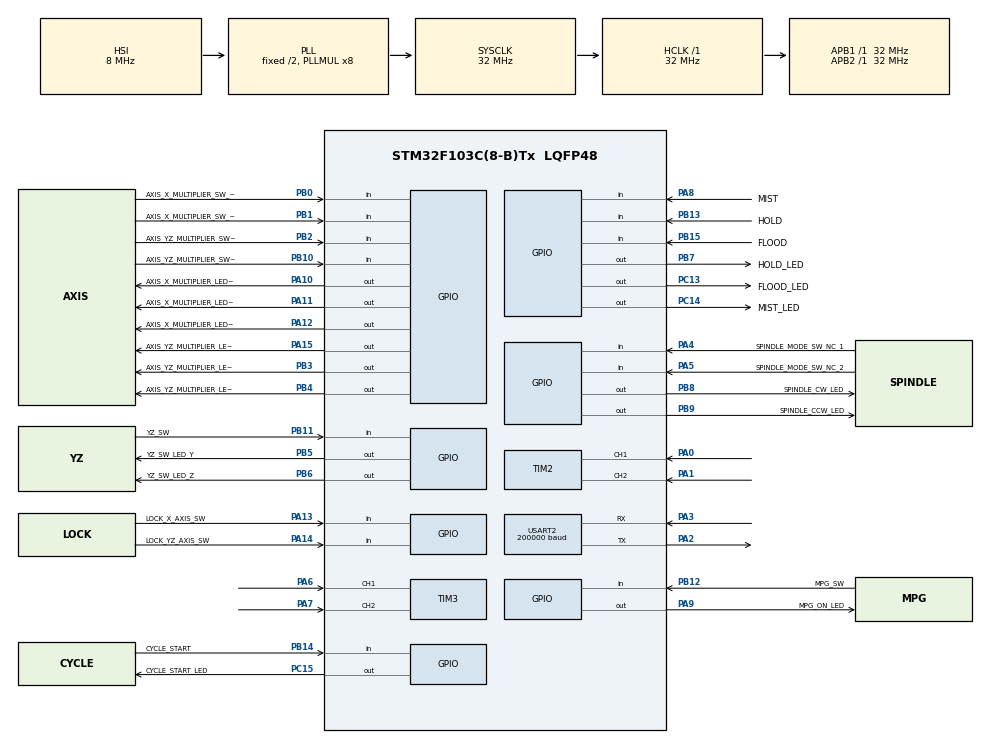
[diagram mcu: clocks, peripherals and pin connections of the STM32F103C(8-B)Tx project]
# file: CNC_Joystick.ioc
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Dma.Request0=USART2_RX
Dma.Request1=USART2_TX
Dma.USART2_RX.0.Direction=DMA_PERIPH_TO_MEMORY
Dma.USART2_RX.0.Instance=DMA1_Channel6
Dma.USART2_RX.0.MemDataAlignment=DMA_MDATAALIGN_BYTE
Dma.USART2_RX.0.MemInc=DMA_MINC_ENABLE
Dma.USART2_RX.0.Mode=DMA_NORMAL
Dma.USART2_RX.0.PeriphDataAlignment=DMA_PDATAALIGN_BYTE
Dma.USART2_RX.0.PeriphInc=DMA_PINC_DISABLE
Dma.USART2_RX.0.Priority=DMA_PRIORITY_LOW
Dma.USART2_TX.1.Direction=DMA_MEMORY_TO_PERIPH
Dma.USART2_TX.1.Instance=DMA1_Channel7
Dma.USART2_TX.1.MemDataAlignment=DMA_MDATAALIGN_BYTE
Dma.USART2_TX.1.MemInc=DMA_MINC_ENABLE
Dma.USART2_TX.1.Mode=DMA_NORMAL
Dma.USART2_TX.1.PeriphDataAlignment=DMA_PDATAALIGN_BYTE
Dma.USART2_TX.1.PeriphInc=DMA_PINC_DISABLE
Dma.USART2_TX.1.Priority=DMA_PRIORITY_LOW
Mcu.Family=STM32F1
Mcu.Name=STM32F103C(8-B)Tx
Mcu.Package=LQFP48
NVIC.DMA1_Channel6_IRQn=true\:1\:0\:true\:false\:true\:false\:true\:true
NVIC.DMA1_Channel7_IRQn=true\:1\:0\:true\:false\:true\:false\:true\:true
NVIC.PriorityGroup=NVIC_PRIORITYGROUP_4
NVIC.TIM4_IRQn=true\:2\:0\:true\:false\:true\:true\:true\:true
NVIC.USART2_IRQn=true\:0\:0\:false\:false\:true\:true\:true\:true
PA0-WKUP.Signal=S_TIM2_CH1_ETR
PA1.Signal=S_TIM2_CH2
PA10.GPIO_Label=AXIS_X_MULTIPLIER_LED_1
PA10.Signal=GPIO_Output
PA11.GPIO_Label=AXIS_X_MULTIPLIER_LED_2
PA11.Signal=GPIO_Output
PA12.GPIO_Label=AXIS_X_MULTIPLIER_LED_3
PA12.Signal=GPIO_Output
PA13.GPIO_Label=LOCK_X_AXIS_SW
PA13.GPIO_PuPd=GPIO_PULLUP
PA13.Signal=GPIO_Input
PA14.GPIO_Label=LOCK_YZ_AXIS_SW
PA14.GPIO_PuPd=GPIO_PULLUP
PA14.Signal=GPIO_Input
PA15.GPIO_Label=AXIS_YZ_MULTIPLIER_LED_1
PA15.Signal=GPIO_Output
PA2.Mode=Asynchronous
PA2.Signal=USART2_TX
PA3.Mode=Asynchronous
PA3.Signal=USART2_RX
PA4.GPIO_Label=SPINDLE_MODE_SW_NC_1
PA4.GPIO_PuPd=GPIO_PULLUP
PA4.Signal=GPIO_Input
PA5.GPIO_Label=SPINDLE_MODE_SW_NC_2
PA5.GPIO_PuPd=GPIO_PULLUP
PA5.Signal=GPIO_Input
PA6.Signal=S_TIM3_CH1
PA7.Signal=S_TIM3_CH2
PA8.GPIO_Label=MIST
PA8.GPIO_PuPd=GPIO_PULLUP
PA8.Signal=GPIO_Input
PA9.GPIO_Label=MPG_ON_LED
PA9.Signal=GPIO_Output
PB0.GPIO_Label=AXIS_X_MULTIPLIER_SW_NC_1
PB0.GPIO_PuPd=GPIO_PULLUP
PB0.Signal=GPIO_Input
PB1.GPIO_Label=AXIS_X_MULTIPLIER_SW_NC_2
PB1.GPIO_PuPd=GPIO_PULLUP
PB1.Signal=GPIO_Input
PB10.GPIO_Label=AXIS_YZ_MULTIPLIER_SW_NC_2
PB10.GPIO_PuPd=GPIO_PULLUP
PB10.Signal=GPIO_Input
PB11.GPIO_Label=YZ_SW
PB11.GPIO_PuPd=GPIO_PULLUP
PB11.Signal=GPIO_Input
PB12.GPIO_Label=MPG_SW
PB12.GPIO_PuPd=GPIO_PULLUP
PB12.Signal=GPIO_Input
PB13.GPIO_Label=HOLD
PB13.GPIO_PuPd=GPIO_PULLUP
PB13.Signal=GPIO_Input
PB14.GPIO_Label=CYCLE_START
PB14.GPIO_PuPd=GPIO_PULLUP
PB14.Signal=GPIO_Input
PB15.GPIO_Label=FLOOD
PB15.GPIO_PuPd=GPIO_PULLUP
PB15.Signal=GPIO_Input
PB2.GPIO_Label=AXIS_YZ_MULTIPLIER_SW_NC_1
PB2.GPIO_PuPd=GPIO_PULLUP
PB2.Signal=GPIO_Input
PB3.GPIO_Label=AXIS_YZ_MULTIPLIER_LED_2
PB3.Signal=GPIO_Output
PB4.GPIO_Label=AXIS_YZ_MULTIPLIER_LED_3
PB4.Signal=GPIO_Output
PB5.GPIO_Label=YZ_SW_LED_Y
PB5.Signal=GPIO_Output
PB6.GPIO_Label=YZ_SW_LED_Z
PB6.Signal=GPIO_Output
PB7.GPIO_Label=HOLD_LED
PB7.Signal=GPIO_Output
PB8.GPIO_Label=SPINDLE_CW_LED
PB8.Signal=GPIO_Output
PB9.GPIO_Label=SPINDLE_CCW_LED
PB9.Signal=GPIO_Output
PC13-TAMPER-RTC.GPIO_Label=FLOOD_LED
PC13-TAMPER-RTC.Signal=GPIO_Output
PC14-OSC32_IN.GPIO_Label=MIST_LED
PC14-OSC32_IN.Signal=GPIO_Output
PC15-OSC32_OUT.GPIO_Label=CYCLE_START_LED
PC15-OSC32_OUT.Signal=GPIO_Output
ProjectManager.HeapSize=0x200
ProjectManager.StackSize=0x400
ProjectManager.TargetToolchain=STM32CubeIDE
RCC.AHBFreq_Value=32000000
RCC.APB1Freq_Value=32000000
RCC.APB1TimFreq_Value=32000000
RCC.APB2Freq_Value=32000000
RCC.APB2TimFreq_Value=32000000
RCC.HCLKFreq_Value=32000000
RCC.PLLMUL=RCC_PLL_MUL8
RCC.SYSCLKFreq_VALUE=32000000
RCC.SYSCLKSource=RCC_SYSCLKSOURCE_PLLCLK
RCC.USBFreq_Value=32000000
SH.S_TIM2_CH1_ETR.0=TIM2_CH1,Encoder_Interface
SH.S_TIM2_CH2.0=TIM2_CH2,Encoder_Interface
SH.S_TIM3_CH1.0=TIM3_CH1,Encoder_Interface
SH.S_TIM3_CH2.0=TIM3_CH2,Encoder_Interface
TIM4.Period=1000 - 1
TIM4.Prescaler=320
USART2.BaudRate=200000
USART2.VirtualMode=VM_ASYNC
VP_TIM4_VS_ClockSourceINT.Mode=Internal
board=custom

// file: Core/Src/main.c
/* USER CODE BEGIN Header */
/**
  ******************************************************************************
  * @file           : main.c
  * @brief          : Main program body
  ******************************************************************************
  * @attention
  *
  * Copyright (c) 2024 STMicroelectronics.
  * All rights reserved.
  *
  * This software is licensed under terms that can be found in the LICENSE file
  * in the root directory of this software component.
  * If no LICENSE file comes with this software, it is provided AS-IS.
  *
  ******************************************************************************
  */
/* USER CODE END Header */
#include "main.h"

/* USER CODE BEGIN Includes */
#include "buttons.h"
#include "uart_comm.h"
#include "stm32f1xx_it.h"

/* USER CODE END Includes */

/* USER CODE BEGIN PD */
#define Y_OR_Z_BUT_DELAY_CH 0
#define MPG_BUT_DELAY_CH 1
#define FLOOD_BUT_DELAY_CH 2
#define MIST_BUT_DELAY_CH 3

/* USER CODE END PD */

TIM_HandleTypeDef htim2;
TIM_HandleTypeDef htim3;
TIM_HandleTypeDef htim4;

UART_HandleTypeDef huart2;
DMA_HandleTypeDef hdma_usart2_rx;
DMA_HandleTypeDef hdma_usart2_tx;

/* USER CODE BEGIN PV */
bool process_inputs_flag = false;
bool pendant_status = false;
uint8_t pendant_mpg_status = MPG_STATUS_DISABLED;

uint8_t button_action_delay_cnt_ch[16] = {0};
const uint8_t button_delay_action_cnt = BUTTON_DELAY_ACTION_TIME / PROCESS_INPUTS_DELAY;

/* USER CODE END PV */

void SystemClock_Config(void);
static void MX_GPIO_Init(void);
static void MX_DMA_Init(void);
static void MX_TIM2_Init(void);
static void MX_TIM3_Init(void);
static void MX_USART2_UART_Init(void);
static void MX_TIM4_Init(void);
/* USER CODE BEGIN PFP */
void Init_interfaces(void);
void turn_off_leds(void);
void process_inputs(void);
uint8_t get_spindle_mode(void);
uint8_t get_x_axis_multiplier(void);
uint8_t get_yz_axis_multiplier(void);

/* USER CODE END PFP */

/* USER CODE BEGIN 0 */
#define ENCODER_1_TIM htim2
#define ENCODER_2_TIM htim3

extern pendant_data_t pendant_data;

/* USER CODE END 0 */

int main(void)
{

  /* MCU Configuration--------------------------------------------------------*/

  /* Reset of all peripherals, Initializes the Flash interface and the Systick. */
  HAL_Init();

  /* Configure the system clock */
  SystemClock_Config();

  /* Initialize all configured peripherals */
  MX_GPIO_Init();
  MX_DMA_Init();
  MX_TIM2_Init();
  MX_TIM3_Init();
  MX_USART2_UART_Init();
  MX_TIM4_Init();
  /* USER CODE BEGIN 2 */
  // Initialize interfaces
  Init_interfaces();

  /* USER CODE END 2 */

  /* Infinite loop */
  /* USER CODE BEGIN WHILE */
  while(1)
  {
	// The program will enter this if statement when the flag
	// has been set which happens inside TIM4 interrupt handler
	if(process_inputs_flag && pendant_status){
		// Call function for processing system inputs
		process_inputs();

		// Reset the entry flag
		process_inputs_flag = false;
	}
    /* USER CODE END WHILE */

  }
}

void SystemClock_Config(void)
{
  RCC_OscInitTypeDef RCC_OscInitStruct = {0};
  RCC_ClkInitTypeDef RCC_ClkInitStruct = {0};

  /** Initializes the RCC Oscillators according to the specified parameters
  * in the RCC_OscInitTypeDef structure.
  */
  RCC_OscInitStruct.OscillatorType = RCC_OSCILLATORTYPE_HSI;
  RCC_OscInitStruct.HSIState = RCC_HSI_ON;
  RCC_OscInitStruct.HSICalibrationValue = RCC_HSICALIBRATION_DEFAULT;
  RCC_OscInitStruct.PLL.PLLState = RCC_PLL_ON;
  RCC_OscInitStruct.PLL.PLLSource = RCC_PLLSOURCE_HSI_DIV2;
  RCC_OscInitStruct.PLL.PLLMUL = RCC_PLL_MUL8;
  if (HAL_RCC_OscConfig(&RCC_OscInitStruct) != HAL_OK)
  {
    Error_Handler();
  }

  /** Initializes the CPU, AHB and APB buses clocks
  */
  RCC_ClkInitStruct.ClockType = RCC_CLOCKTYPE_HCLK|RCC_CLOCKTYPE_SYSCLK
                              |RCC_CLOCKTYPE_PCLK1|RCC_CLOCKTYPE_PCLK2;
  RCC_ClkInitStruct.SYSCLKSource = RCC_SYSCLKSOURCE_PLLCLK;
  RCC_ClkInitStruct.AHBCLKDivider = RCC_SYSCLK_DIV1;
  RCC_ClkInitStruct.APB1CLKDivider = RCC_HCLK_DIV1;
  RCC_ClkInitStruct.APB2CLKDivider = RCC_HCLK_DIV1;

  if (HAL_RCC_ClockConfig(&RCC_ClkInitStruct, FLASH_LATENCY_1) != HAL_OK)
  {
    Error_Handler();
  }
}

static void MX_TIM2_Init(void)
{

  TIM_Encoder_InitTypeDef sConfig = {0};
  TIM_MasterConfigTypeDef sMasterConfig = {0};

  htim2.Instance = TIM2;
  htim2.Init.Prescaler = 0;
  htim2.Init.CounterMode = TIM_COUNTERMODE_UP;
  htim2.Init.Period = 65535;
  htim2.Init.ClockDivision = TIM_CLOCKDIVISION_DIV1;
  htim2.Init.AutoReloadPreload = TIM_AUTORELOAD_PRELOAD_DISABLE;
  sConfig.EncoderMode = TIM_ENCODERMODE_TI1;
  sConfig.IC1Polarity = TIM_ICPOLARITY_RISING;
  sConfig.IC1Selection = TIM_ICSELECTION_DIRECTTI;
  sConfig.IC1Prescaler = TIM_ICPSC_DIV1;
  sConfig.IC1Filter = 0;
  sConfig.IC2Polarity = TIM_ICPOLARITY_RISING;
  sConfig.IC2Selection = TIM_ICSELECTION_DIRECTTI;
  sConfig.IC2Prescaler = TIM_ICPSC_DIV1;
  sConfig.IC2Filter = 0;
  if (HAL_TIM_Encoder_Init(&htim2, &sConfig) != HAL_OK)
  {
    Error_Handler();
  }
  sMasterConfig.MasterOutputTrigger = TIM_TRGO_RESET;
  sMasterConfig.MasterSlaveMode = TIM_MASTERSLAVEMODE_DISABLE;
  if (HAL_TIMEx_MasterConfigSynchronization(&htim2, &sMasterConfig) != HAL_OK)
  {
    Error_Handler();
  }

}

static void MX_TIM3_Init(void)
{

  TIM_Encoder_InitTypeDef sConfig = {0};
  TIM_MasterConfigTypeDef sMasterConfig = {0};

  htim3.Instance = TIM3;
  htim3.Init.Prescaler = 0;
  htim3.Init.CounterMode = TIM_COUNTERMODE_UP;
  htim3.Init.Period = 65535;
  htim3.Init.ClockDivision = TIM_CLOCKDIVISION_DIV1;
  htim3.Init.AutoReloadPreload = TIM_AUTORELOAD_PRELOAD_DISABLE;
  sConfig.EncoderMode = TIM_ENCODERMODE_TI1;
  sConfig.IC1Polarity = TIM_ICPOLARITY_RISING;
  sConfig.IC1Selection = TIM_ICSELECTION_DIRECTTI;
  sConfig.IC1Prescaler = TIM_ICPSC_DIV1;
  sConfig.IC1Filter = 0;
  sConfig.IC2Polarity = TIM_ICPOLARITY_RISING;
  sConfig.IC2Selection = TIM_ICSELECTION_DIRECTTI;
  sConfig.IC2Prescaler = TIM_ICPSC_DIV1;
  sConfig.IC2Filter = 0;
  if (HAL_TIM_Encoder_Init(&htim3, &sConfig) != HAL_OK)
  {
    Error_Handler();
  }
  sMasterConfig.MasterOutputTrigger = TIM_TRGO_RESET;
  sMasterConfig.MasterSlaveMode = TIM_MASTERSLAVEMODE_DISABLE;
  if (HAL_TIMEx_MasterConfigSynchronization(&htim3, &sMasterConfig) != HAL_OK)
  {
    Error_Handler();
  }

}

static void MX_TIM4_Init(void)
{

  TIM_ClockConfigTypeDef sClockSourceConfig = {0};
  TIM_MasterConfigTypeDef sMasterConfig = {0};

  htim4.Instance = TIM4;
  htim4.Init.Prescaler = 320;
  htim4.Init.CounterMode = TIM_COUNTERMODE_UP;
  htim4.Init.Period = 1000 - 1;
  htim4.Init.ClockDivision = TIM_CLOCKDIVISION_DIV1;
  htim4.Init.AutoReloadPreload = TIM_AUTORELOAD_PRELOAD_DISABLE;
  if (HAL_TIM_Base_Init(&htim4) != HAL_OK)
  {
    Error_Handler();
  }
  sClockSourceConfig.ClockSource = TIM_CLOCKSOURCE_INTERNAL;
  if (HAL_TIM_ConfigClockSource(&htim4, &sClockSourceConfig) != HAL_OK)
  {
    Error_Handler();
  }
  sMasterConfig.MasterOutputTrigger = TIM_TRGO_RESET;
  sMasterConfig.MasterSlaveMode = TIM_MASTERSLAVEMODE_DISABLE;
  if (HAL_TIMEx_MasterConfigSynchronization(&htim4, &sMasterConfig) != HAL_OK)
  {
    Error_Handler();
  }

}

static void MX_USART2_UART_Init(void)
{

  huart2.Instance = USART2;
  huart2.Init.BaudRate = 200000;
  huart2.Init.WordLength = UART_WORDLENGTH_8B;
  huart2.Init.StopBits = UART_STOPBITS_1;
  huart2.Init.Parity = UART_PARITY_NONE;
  huart2.Init.Mode = UART_MODE_TX_RX;
  huart2.Init.HwFlowCtl = UART_HWCONTROL_NONE;
  huart2.Init.OverSampling = UART_OVERSAMPLING_16;
  if (HAL_UART_Init(&huart2) != HAL_OK)
  {
    Error_Handler();
  }

}

static void MX_DMA_Init(void)
{

  /* DMA controller clock enable */
  __HAL_RCC_DMA1_CLK_ENABLE();

  /* DMA interrupt init */
  /* DMA1_Channel6_IRQn interrupt configuration */
  HAL_NVIC_SetPriority(DMA1_Channel6_IRQn, 1, 0);
  HAL_NVIC_EnableIRQ(DMA1_Channel6_IRQn);
  /* DMA1_Channel7_IRQn interrupt configuration */
  HAL_NVIC_SetPriority(DMA1_Channel7_IRQn, 1, 0);
  HAL_NVIC_EnableIRQ(DMA1_Channel7_IRQn);

}

static void MX_GPIO_Init(void)
{
  GPIO_InitTypeDef GPIO_InitStruct = {0};

  /* GPIO Ports Clock Enable */
  __HAL_RCC_GPIOC_CLK_ENABLE();
  __HAL_RCC_GPIOA_CLK_ENABLE();
  __HAL_RCC_GPIOB_CLK_ENABLE();

  /*Configure GPIO pin Output Level */
  HAL_GPIO_WritePin(GPIOC, FLOOD_LED_Pin|MIST_LED_Pin|CYCLE_START_LED_Pin, GPIO_PIN_RESET);

  /*Configure GPIO pin Output Level */
  HAL_GPIO_WritePin(GPIOA, MPG_ON_LED_Pin|AXIS_X_MULTIPLIER_LED_1_Pin|AXIS_X_MULTIPLIER_LED_2_Pin|AXIS_X_MULTIPLIER_LED_3_Pin
                          |AXIS_YZ_MULTIPLIER_LED_1_Pin, GPIO_PIN_RESET);

  /*Configure GPIO pin Output Level */
  HAL_GPIO_WritePin(GPIOB, AXIS_YZ_MULTIPLIER_LED_2_Pin|AXIS_YZ_MULTIPLIER_LED_3_Pin|YZ_SW_LED_Y_Pin|YZ_SW_LED_Z_Pin
                          |HOLD_LED_Pin|SPINDLE_CW_LED_Pin|SPINDLE_CCW_LED_Pin, GPIO_PIN_RESET);

  /*Configure GPIO pins : FLOOD_LED_Pin MIST_LED_Pin CYCLE_START_LED_Pin */
  GPIO_InitStruct.Pin = FLOOD_LED_Pin|MIST_LED_Pin|CYCLE_START_LED_Pin;
  GPIO_InitStruct.Mode = GPIO_MODE_OUTPUT_PP;
  GPIO_InitStruct.Pull = GPIO_NOPULL;
  GPIO_InitStruct.Speed = GPIO_SPEED_FREQ_LOW;
  HAL_GPIO_Init(GPIOC, &GPIO_InitStruct);

  /*Configure GPIO pins : SPINDLE_MODE_SW_NC_1_Pin SPINDLE_MODE_SW_NC_2_Pin MIST_Pin LOCK_X_AXIS_SW_Pin
                           LOCK_YZ_AXIS_SW_Pin */
  GPIO_InitStruct.Pin = SPINDLE_MODE_SW_NC_1_Pin|SPINDLE_MODE_SW_NC_2_Pin|MIST_Pin|LOCK_X_AXIS_SW_Pin
                          |LOCK_YZ_AXIS_SW_Pin;
  GPIO_InitStruct.Mode = GPIO_MODE_INPUT;
  GPIO_InitStruct.Pull = GPIO_PULLUP;
  HAL_GPIO_Init(GPIOA, &GPIO_InitStruct);

  /*Configure GPIO pins : AXIS_X_MULTIPLIER_SW_NC_1_Pin AXIS_X_MULTIPLIER_SW_NC_2_Pin AXIS_YZ_MULTIPLIER_SW_NC_1_Pin AXIS_YZ_MULTIPLIER_SW_NC_2_Pin
                           YZ_SW_Pin MPG_SW_Pin HOLD_Pin CYCLE_START_Pin
                           FLOOD_Pin */
  GPIO_InitStruct.Pin = AXIS_X_MULTIPLIER_SW_NC_1_Pin|AXIS_X_MULTIPLIER_SW_NC_2_Pin|AXIS_YZ_MULTIPLIER_SW_NC_1_Pin|AXIS_YZ_MULTIPLIER_SW_NC_2_Pin
                          |YZ_SW_Pin|MPG_SW_Pin|HOLD_Pin|CYCLE_START_Pin
                          |FLOOD_Pin;
  GPIO_InitStruct.Mode = GPIO_MODE_INPUT;
  GPIO_InitStruct.Pull = GPIO_PULLUP;
  HAL_GPIO_Init(GPIOB, &GPIO_InitStruct);

  /*Configure GPIO pins : MPG_ON_LED_Pin AXIS_X_MULTIPLIER_LED_1_Pin AXIS_X_MULTIPLIER_LED_2_Pin AXIS_X_MULTIPLIER_LED_3_Pin
                           AXIS_YZ_MULTIPLIER_LED_1_Pin */
  GPIO_InitStruct.Pin = MPG_ON_LED_Pin|AXIS_X_MULTIPLIER_LED_1_Pin|AXIS_X_MULTIPLIER_LED_2_Pin|AXIS_X_MULTIPLIER_LED_3_Pin
                          |AXIS_YZ_MULTIPLIER_LED_1_Pin;
  GPIO_InitStruct.Mode = GPIO_MODE_OUTPUT_PP;
  GPIO_InitStruct.Pull = GPIO_NOPULL;
  GPIO_InitStruct.Speed = GPIO_SPEED_FREQ_LOW;
  HAL_GPIO_Init(GPIOA, &GPIO_InitStruct);

  /*Configure GPIO pins : AXIS_YZ_MULTIPLIER_LED_2_Pin AXIS_YZ_MULTIPLIER_LED_3_Pin YZ_SW_LED_Y_Pin YZ_SW_LED_Z_Pin
                           HOLD_LED_Pin SPINDLE_CW_LED_Pin SPINDLE_CCW_LED_Pin */
  GPIO_InitStruct.Pin = AXIS_YZ_MULTIPLIER_LED_2_Pin|AXIS_YZ_MULTIPLIER_LED_3_Pin|YZ_SW_LED_Y_Pin|YZ_SW_LED_Z_Pin
                          |HOLD_LED_Pin|SPINDLE_CW_LED_Pin|SPINDLE_CCW_LED_Pin;
  GPIO_InitStruct.Mode = GPIO_MODE_OUTPUT_PP;
  GPIO_InitStruct.Pull = GPIO_NOPULL;
  GPIO_InitStruct.Speed = GPIO_SPEED_FREQ_LOW;
  HAL_GPIO_Init(GPIOB, &GPIO_InitStruct);

}

/* USER CODE BEGIN 4 */
/**
  * @brief Initialize interfaces
  */
void Init_interfaces(void){
	// Start encoder timers
	HAL_TIM_Encoder_Start(&htim2, TIM_CHANNEL_ALL);
	HAL_TIM_Encoder_Start(&htim3, TIM_CHANNEL_ALL);

	// Start TIM4 for button de-bouncer
	HAL_TIM_Base_Start_IT(&htim4);

	// Assign buttons/switches a de-bouncer channel
	set_button_channel(SPINDLE_MODE_SW_NC_1_GPIO_Port, SPINDLE_MODE_SW_NC_1_Pin, SPINDLE_3POS_SW_NC_1_CH);
	set_button_channel(SPINDLE_MODE_SW_NC_2_GPIO_Port, SPINDLE_MODE_SW_NC_2_Pin, SPINDLE_3POS_SW_NC_2_CH);
	set_button_channel(AXIS_X_MULTIPLIER_SW_NC_1_GPIO_Port, AXIS_X_MULTIPLIER_SW_NC_1_Pin, AXIS_X_MULTIPLIER_SW_NC_1_CH);
	set_button_channel(AXIS_X_MULTIPLIER_SW_NC_2_GPIO_Port, AXIS_X_MULTIPLIER_SW_NC_2_Pin, AXIS_X_MULTIPLIER_SW_NC_2_CH);
	set_button_channel(AXIS_YZ_MULTIPLIER_SW_NC_1_GPIO_Port, AXIS_YZ_MULTIPLIER_SW_NC_1_Pin, AXIS_YZ_MULTIPLIER_SW_NC_1_CH);
	set_button_channel(AXIS_YZ_MULTIPLIER_SW_NC_2_GPIO_Port, AXIS_YZ_MULTIPLIER_SW_NC_2_Pin, AXIS_YZ_MULTIPLIER_SW_NC_2_CH);
	set_button_channel(YZ_SW_GPIO_Port, YZ_SW_Pin, YZ_SW_CH);
	set_button_channel(MPG_SW_GPIO_Port, MPG_SW_Pin, MPG_BUT_CH);
	set_button_channel(HOLD_GPIO_Port, HOLD_Pin, HOLD_BUT_CH);
	set_button_channel(CYCLE_START_GPIO_Port, CYCLE_START_Pin, CYCLE_START_BUT_CH);
	set_button_channel(FLOOD_GPIO_Port, FLOOD_Pin, FLOOD_SW_CH);
	set_button_channel(MIST_GPIO_Port, MIST_Pin, MIST_SW_CH);
	set_button_channel(LOCK_X_AXIS_SW_GPIO_Port, LOCK_X_AXIS_SW_Pin, LOCK_X_AXIS_SW_CH);
	set_button_channel(LOCK_YZ_AXIS_SW_GPIO_Port, LOCK_YZ_AXIS_SW_Pin, LOCK_YZ_AXIS_SW_CH);

	// Turn off all LEDs
	turn_off_leds();

	// Start UART2 reception
	start_uart2_reception();
}

/**
  * @brief Turn off all system LEDs
  */
void turn_off_leds(void){
	HAL_GPIO_WritePin(FLOOD_LED_GPIO_Port, FLOOD_LED_Pin, LED_STATE_OFF);
	HAL_GPIO_WritePin(MIST_LED_GPIO_Port, MIST_LED_Pin, LED_STATE_OFF);
	HAL_GPIO_WritePin(CYCLE_START_LED_GPIO_Port, CYCLE_START_LED_Pin, LED_STATE_OFF);
	HAL_GPIO_WritePin(HOLD_LED_GPIO_Port, HOLD_LED_Pin, LED_STATE_OFF);
	HAL_GPIO_WritePin(MPG_ON_LED_GPIO_Port, MPG_ON_LED_Pin, LED_STATE_OFF);
	HAL_GPIO_WritePin(YZ_SW_LED_Y_GPIO_Port, YZ_SW_LED_Y_Pin, LED_STATE_OFF);
	HAL_GPIO_WritePin(YZ_SW_LED_Z_GPIO_Port, YZ_SW_LED_Z_Pin, LED_STATE_OFF);
	HAL_GPIO_WritePin(SPINDLE_CW_LED_GPIO_Port, SPINDLE_CW_LED_Pin, LED_STATE_OFF);
	HAL_GPIO_WritePin(SPINDLE_CCW_LED_GPIO_Port, SPINDLE_CCW_LED_Pin, LED_STATE_OFF);

	HAL_GPIO_WritePin(AXIS_X_MULTIPLIER_LED_1_GPIO_Port, AXIS_X_MULTIPLIER_LED_1_Pin, LED_STATE_OFF);
	HAL_GPIO_WritePin(AXIS_X_MULTIPLIER_LED_2_GPIO_Port, AXIS_X_MULTIPLIER_LED_2_Pin, LED_STATE_OFF);
	HAL_GPIO_WritePin(AXIS_X_MULTIPLIER_LED_3_GPIO_Port, AXIS_X_MULTIPLIER_LED_3_Pin, LED_STATE_OFF);

	HAL_GPIO_WritePin(AXIS_YZ_MULTIPLIER_LED_1_GPIO_Port, AXIS_YZ_MULTIPLIER_LED_1_Pin, LED_STATE_OFF);
	HAL_GPIO_WritePin(AXIS_YZ_MULTIPLIER_LED_2_GPIO_Port, AXIS_YZ_MULTIPLIER_LED_2_Pin, LED_STATE_OFF);
	HAL_GPIO_WritePin(AXIS_YZ_MULTIPLIER_LED_3_GPIO_Port, AXIS_YZ_MULTIPLIER_LED_3_Pin, LED_STATE_OFF);
}

/**
  * @brief Process system inputs
  */
void process_inputs(void){
	static bool y_or_z_last_state = false;
	uint8_t lock_x_axis = get_button_state(LOCK_X_AXIS_SW_CH);	// Get X axis lock state
	uint8_t lock_yz_axis = get_button_state(LOCK_YZ_AXIS_SW_CH); // Get Y/Z axes lock state

	// Check MPG functionality switch input (it disables/enables MPG functionality)
	if(get_button_state(MPG_BUT_CH) == GPIO_PIN_RESET){
		if(++button_action_delay_cnt_ch[MPG_BUT_DELAY_CH] >= button_delay_action_cnt || \
		   button_action_delay_cnt_ch[MPG_BUT_DELAY_CH] == 1){
			if(button_action_delay_cnt_ch[MPG_BUT_DELAY_CH] != 1 && button_delay_action_cnt != 1){
				button_action_delay_cnt_ch[MPG_BUT_DELAY_CH] = 0;
			}

			if(pendant_mpg_status != MPG_STATUS_DISABLED){
				pendant_mpg_status = MPG_STATUS_DISABLED;
			}else{
				pendant_mpg_status = MPG_STATUS_ENABLE_ONGOING;
			}
		}
	}else{
		button_action_delay_cnt_ch[MPG_BUT_DELAY_CH] = 0;
	}

	// The program will enter this if statement, if the system
	// is enabled and it's MPg functionality is turned on
	if(pendant_status && pendant_data.mpg){
		// Keep or "discard" axis movement data based on locks states
		if(lock_x_axis == GPIO_PIN_RESET){
			pendant_data.encoder1_val = ENCODER_1_TIM.Instance->CNT;
		}else{
			ENCODER_1_TIM.Instance->CNT = pendant_data.encoder1_val;
		}
		if(lock_yz_axis == GPIO_PIN_RESET){
			pendant_data.encoder2_val = ENCODER_2_TIM.Instance->CNT;
		}else{
			ENCODER_2_TIM.Instance->CNT = pendant_data.encoder2_val;
		}
	}else{
		// Discard encoder inputs
		pendant_data.encoder1_val = 0;
		pendant_data.encoder2_val = 0;
		ENCODER_1_TIM.Instance->CNT = 0;
		ENCODER_2_TIM.Instance->CNT = 0;
	}

	// If pendant's MPG functionality is enabled,
	// execute the following code inside the if statement
	if(pendant_mpg_status == MPG_STATUS_ENABLED){
		pendant_data.spindle_mode = get_spindle_mode(); // Get spindle mode
		pendant_data.jog_mode = 0;	//TODO: need to have an input for jogging mode switching
		pendant_data.x_axis_multiplicity = get_x_axis_multiplier(); // Get X axis multiplier
		pendant_data.yz_axis_multiplicity = get_yz_axis_multiplier(); // Get Y/Z axes multiplier

		// Check Y/Z axes switch input
		if(get_button_state(YZ_SW_CH) == GPIO_PIN_RESET){
			if(!y_or_z_last_state){
				y_or_z_last_state = true;
				button_action_delay_cnt_ch[Y_OR_Z_BUT_DELAY_CH] = 0;
			}
			if(++button_action_delay_cnt_ch[Y_OR_Z_BUT_DELAY_CH] >= button_delay_action_cnt){
				button_action_delay_cnt_ch[Y_OR_Z_BUT_DELAY_CH] = 0;
				pendant_data.y_or_z = YZ_MOVEMENT_Z;	// Set to Z axis
			}
		}else{
			if(y_or_z_last_state){
				y_or_z_last_state = false;
				button_action_delay_cnt_ch[Y_OR_Z_BUT_DELAY_CH] = 0;
			}
			if(++button_action_delay_cnt_ch[Y_OR_Z_BUT_DELAY_CH] >= button_delay_action_cnt){
				button_action_delay_cnt_ch[Y_OR_Z_BUT_DELAY_CH] = 0;
				pendant_data.y_or_z = YZ_MOVEMENT_Y;	// Set to Z axis
			}
		}

		// Check FLOOD coolant switch input
		if(get_button_state(FLOOD_SW_CH) == GPIO_PIN_RESET){
			if(++button_action_delay_cnt_ch[FLOOD_BUT_DELAY_CH] >= button_delay_action_cnt){
				button_action_delay_cnt_ch[FLOOD_BUT_DELAY_CH] = 0;
				pendant_data.flood = (pendant_data.flood ? false : true);
			}
		}else{
			button_action_delay_cnt_ch[FLOOD_BUT_DELAY_CH] = 0;
		}

		// Check MIST coolant switch input
		if(get_button_state(MIST_SW_CH) == GPIO_PIN_RESET){
			if(++button_action_delay_cnt_ch[MIST_BUT_DELAY_CH] >= button_delay_action_cnt){
				button_action_delay_cnt_ch[MIST_BUT_DELAY_CH] = 0;
				pendant_data.mist = (pendant_data.mist ? false : true);
			}
		}else{
			button_action_delay_cnt_ch[MIST_BUT_DELAY_CH] = 0;
		}

		// Check HOLD and Cycle start button input
		if(get_button_state(HOLD_BUT_CH) == GPIO_PIN_RESET){	// System HOLD status
			pendant_data.system_status = Hold;		// Set system status to Hold
		}else if(get_button_state(CYCLE_START_BUT_CH) == GPIO_PIN_RESET){	// System CYCLE START status
			pendant_data.system_status = Idle;		// Set system status to Idle
		}

		// Set MPG status LED
		HAL_GPIO_WritePin(MPG_ON_LED_GPIO_Port, MPG_ON_LED_Pin, LED_STATE_ON);

		// Set / Reset LED for which axis between Y and Z is selected
		if(pendant_data.y_or_z == YZ_MOVEMENT_Z){
			HAL_GPIO_WritePin(YZ_SW_LED_Y_GPIO_Port, YZ_SW_LED_Y_Pin, LED_STATE_OFF);
			HAL_GPIO_WritePin(YZ_SW_LED_Z_GPIO_Port, YZ_SW_LED_Z_Pin, LED_STATE_ON);
		}else if(pendant_data.y_or_z == YZ_MOVEMENT_Y){
			HAL_GPIO_WritePin(YZ_SW_LED_Y_GPIO_Port, YZ_SW_LED_Y_Pin, LED_STATE_ON);
			HAL_GPIO_WritePin(YZ_SW_LED_Z_GPIO_Port, YZ_SW_LED_Z_Pin, LED_STATE_OFF);
		}

		// Set / Reset flood coolant LED
		if(pendant_data.flood){
			HAL_GPIO_WritePin(FLOOD_LED_GPIO_Port, FLOOD_LED_Pin, LED_STATE_ON);
		}else{
			HAL_GPIO_WritePin(FLOOD_LED_GPIO_Port, FLOOD_LED_Pin, LED_STATE_OFF);
		}

		// Set / Reset mist coolant LED
		if(pendant_data.mist){
			HAL_GPIO_WritePin(MIST_LED_GPIO_Port, MIST_LED_Pin, LED_STATE_ON);
		}else{
			HAL_GPIO_WritePin(MIST_LED_GPIO_Port, MIST_LED_Pin, LED_STATE_OFF);
		}

		// Set / Reset X axis multiplier LEDs
		switch(pendant_data.x_axis_multiplicity){
			case 0:
				HAL_GPIO_WritePin(AXIS_X_MULTIPLIER_LED_1_GPIO_Port, AXIS_X_MULTIPLIER_LED_1_Pin, LED_STATE_ON);
				HAL_GPIO_WritePin(AXIS_X_MULTIPLIER_LED_2_GPIO_Port, AXIS_X_MULTIPLIER_LED_2_Pin, LED_STATE_OFF);
				HAL_GPIO_WritePin(AXIS_X_MULTIPLIER_LED_3_GPIO_Port, AXIS_X_MULTIPLIER_LED_3_Pin, LED_STATE_OFF);
				break;
			case 1:
				HAL_GPIO_WritePin(AXIS_X_MULTIPLIER_LED_1_GPIO_Port, AXIS_X_MULTIPLIER_LED_1_Pin, LED_STATE_OFF);
				HAL_GPIO_WritePin(AXIS_X_MULTIPLIER_LED_2_GPIO_Port, AXIS_X_MULTIPLIER_LED_2_Pin, LED_STATE_ON);
				HAL_GPIO_WritePin(AXIS_X_MULTIPLIER_LED_3_GPIO_Port, AXIS_X_MULTIPLIER_LED_3_Pin, LED_STATE_OFF);
				break;
			case 2:
				HAL_GPIO_WritePin(AXIS_X_MULTIPLIER_LED_1_GPIO_Port, AXIS_X_MULTIPLIER_LED_1_Pin, LED_STATE_OFF);
				HAL_GPIO_WritePin(AXIS_X_MULTIPLIER_LED_2_GPIO_Port, AXIS_X_MULTIPLIER_LED_2_Pin, LED_STATE_OFF);
				HAL_GPIO_WritePin(AXIS_X_MULTIPLIER_LED_3_GPIO_Port, AXIS_X_MULTIPLIER_LED_3_Pin, LED_STATE_ON);
				break;
			default:
				break;
		}

		// Set / Reset YZ axis multiplier LEDs
		switch(pendant_data.x_axis_multiplicity){
			case 0:
				HAL_GPIO_WritePin(AXIS_YZ_MULTIPLIER_LED_1_GPIO_Port, AXIS_YZ_MULTIPLIER_LED_1_Pin, LED_STATE_ON);
				HAL_GPIO_WritePin(AXIS_YZ_MULTIPLIER_LED_2_GPIO_Port, AXIS_YZ_MULTIPLIER_LED_2_Pin, LED_STATE_OFF);
				HAL_GPIO_WritePin(AXIS_YZ_MULTIPLIER_LED_3_GPIO_Port, AXIS_YZ_MULTIPLIER_LED_3_Pin, LED_STATE_OFF);
				break;
			case 1:
				HAL_GPIO_WritePin(AXIS_YZ_MULTIPLIER_LED_1_GPIO_Port, AXIS_YZ_MULTIPLIER_LED_1_Pin, LED_STATE_OFF);
				HAL_GPIO_WritePin(AXIS_YZ_MULTIPLIER_LED_2_GPIO_Port, AXIS_YZ_MULTIPLIER_LED_2_Pin, LED_STATE_ON);
				HAL_GPIO_WritePin(AXIS_YZ_MULTIPLIER_LED_3_GPIO_Port, AXIS_YZ_MULTIPLIER_LED_3_Pin, LED_STATE_OFF);
				break;
			case 2:
				HAL_GPIO_WritePin(AXIS_YZ_MULTIPLIER_LED_1_GPIO_Port, AXIS_YZ_MULTIPLIER_LED_1_Pin, LED_STATE_OFF);
				HAL_GPIO_WritePin(AXIS_YZ_MULTIPLIER_LED_2_GPIO_Port, AXIS_YZ_MULTIPLIER_LED_2_Pin, LED_STATE_OFF);
				HAL_GPIO_WritePin(AXIS_YZ_MULTIPLIER_LED_3_GPIO_Port, AXIS_YZ_MULTIPLIER_LED_3_Pin, LED_STATE_ON);
				break;
			default:
				break;
		}

		// Set / Reset spindle mode LEDs
		switch(pendant_data.spindle_mode){
			case SPINDLE_MODE_CW:
				HAL_GPIO_WritePin(SPINDLE_CW_LED_GPIO_Port, SPINDLE_CW_LED_Pin, LED_STATE_ON);
				HAL_GPIO_WritePin(SPINDLE_CCW_LED_GPIO_Port, SPINDLE_CCW_LED_Pin, LED_STATE_OFF);
				break;
			case SPINDLE_MODE_CCW:
				HAL_GPIO_WritePin(SPINDLE_CW_LED_GPIO_Port, SPINDLE_CW_LED_Pin, LED_STATE_OFF);
				HAL_GPIO_WritePin(SPINDLE_CCW_LED_GPIO_Port, SPINDLE_CCW_LED_Pin, LED_STATE_ON);
				break;
			case SPINDLE_MODE_OFF:
				HAL_GPIO_WritePin(SPINDLE_CW_LED_GPIO_Port, SPINDLE_CW_LED_Pin, LED_STATE_OFF);
				HAL_GPIO_WritePin(SPINDLE_CCW_LED_GPIO_Port, SPINDLE_CCW_LED_Pin, LED_STATE_OFF);
				break;
			default:
				break;
		}

		// Set / Reset machine status LEDs
		if(pendant_data.system_status == Idle){
			HAL_GPIO_WritePin(CYCLE_START_LED_GPIO_Port, CYCLE_START_LED_Pin, LED_STATE_ON);
			HAL_GPIO_WritePin(HOLD_LED_GPIO_Port, HOLD_LED_Pin, LED_STATE_OFF);
		}else if(pendant_data.system_status == Hold){
			HAL_GPIO_WritePin(CYCLE_START_LED_GPIO_Port, CYCLE_START_LED_Pin, LED_STATE_OFF);
			HAL_GPIO_WritePin(HOLD_LED_GPIO_Port, HOLD_LED_Pin, LED_STATE_ON);
		}
	}else if(pendant_mpg_status == MPG_STATUS_DISABLED){
		// Turn off system LEDs
		turn_off_leds();
	}
}

/**
  * @brief Analyze spindle mode switch input and return spindle mode
  */
uint8_t get_spindle_mode(void){
	uint8_t button_states = 0x00;

	button_states |= (~get_button_state(SPINDLE_3POS_SW_NC_1_CH)) & 0x01;
	button_states |= (((~get_button_state(SPINDLE_3POS_SW_NC_2_CH)) & 0x01) << 1);

	if(button_states == 0x03){
		return SPINDLE_MODE_OFF;
	}else if(button_states == 0x01){
		return SPINDLE_MODE_CW;
	}else if(button_states == 0x02){
		return SPINDLE_MODE_CCW;
	}

	return SPINDLE_MODE_OFF;
}

/**
  * @brief Analyze X axis multiplier selector input and return the selected multiplier
  */
uint8_t get_x_axis_multiplier(void){
	uint8_t button_states = 0x00;

	button_states |= (~get_button_state(AXIS_X_MULTIPLIER_SW_NC_1_CH)) & 0x01;
	button_states |= (((~get_button_state(AXIS_X_MULTIPLIER_SW_NC_2_CH)) & 0x01) << 1);

	if(button_states == 0x03){
		return 0;
	}else if(button_states == 0x01){
		return 1;
	}else if(button_states == 0x02){
		return 2;
	}

	return 0;
}

/**
  * @brief Analyze Y/Z axes multiplier selector input and return the selected multiplier
  */
uint8_t get_yz_axis_multiplier(void){
	uint8_t button_states = 0x00;

	button_states |= (~get_button_state(AXIS_YZ_MULTIPLIER_SW_NC_1_CH) & 0x01);
	button_states |= (((~get_button_state(AXIS_YZ_MULTIPLIER_SW_NC_2_CH)) & 0x01) << 1);

	if(button_states == 0x03){
		return 0;
	}else if(button_states == 0x01){
		return 1;
	}else if(button_states == 0x02){
		return 2;
	}

	return 0;
}

/* USER CODE END 4 */

void Error_Handler(void)
{
  __disable_irq();
  while (1)
  {
  }
}
